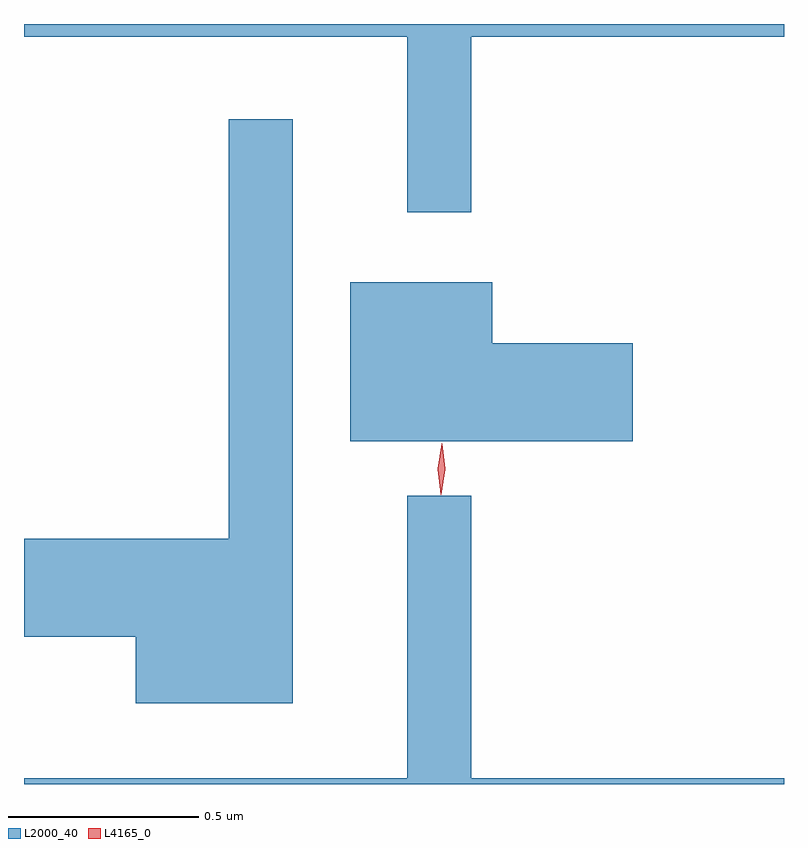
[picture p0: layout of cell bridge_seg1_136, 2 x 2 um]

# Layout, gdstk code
import gdstk
lib = gdstk.Library(unit=1e-6, precision=1e-09)
def P(c, l, *ps):  # polygons
    for p in ps: c.add(gdstk.Polygon(p, *l))
L2000_40 = (2000, 40)
L4165_0 = (4165, 0)

bridge_seg1_136 = lib.new_cell('bridge_seg1_136')
P(bridge_seg1_136, L2000_40, [(1426.449,881.816),(1427.272,881.816),(1427.272,881.849),(1425.272,881.849),(1425.272,881.816),(1426.281,881.816),(1426.281,881.353),(1426.449,881.353)],
  [(1425.979,881.598),(1425.811,881.598),(1425.811,880.494),(1425.272,880.494),(1425.272,880.236),(1425.566,880.236),(1425.566,880.061),(1425.979,880.061)],
  [(1426.874,881.009),(1426.504,881.009),(1426.504,881.169),(1426.131,881.169),(1426.131,880.751),(1426.874,880.751)],
  [(1427.272,879.864),(1426.449,879.864),(1426.449,880.608),(1426.281,880.608),(1426.281,879.864),(1425.272,879.864),(1425.272,879.849),(1427.272,879.849)])
P(bridge_seg1_136, L4165_0, [(1426.369,880.61),(1426.361,880.678),(1426.371,880.745),(1426.371,880.746),(1426.372,880.745),(1426.38,880.678),(1426.37,880.61),(1426.37,880.61)],
  [(1426.37,880.613),(1426.369,880.614),(1426.361,880.676),(1426.371,880.739),(1426.371,880.74),(1426.372,880.739),(1426.38,880.676),(1426.37,880.614)])

lib.write_gds('bridge_seg1_136.gds')
